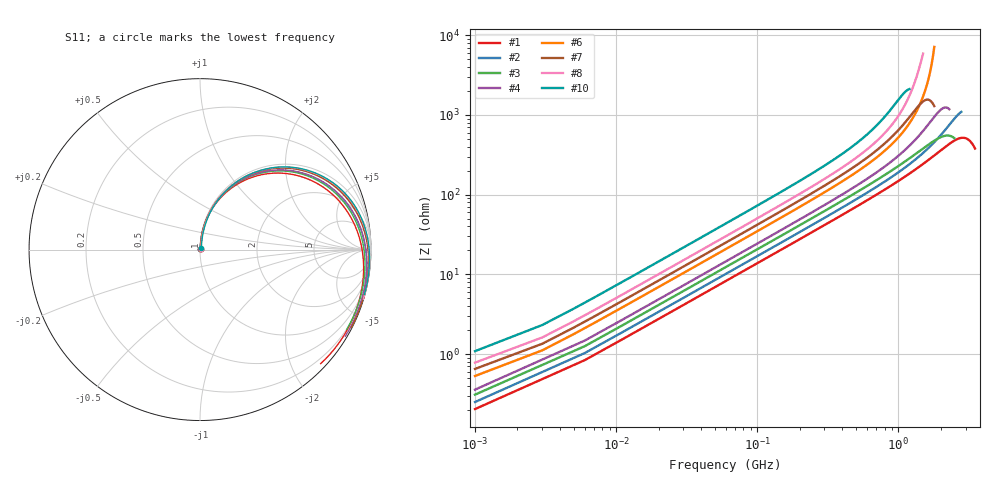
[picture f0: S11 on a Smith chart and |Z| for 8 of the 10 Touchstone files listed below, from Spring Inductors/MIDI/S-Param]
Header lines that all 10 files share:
! 10 June 2003
# MHZ S MA R 50
!Freq  MagS11  AngS11  MagS21  AngS21  MagS12  AngS12  MagS22  AngS22
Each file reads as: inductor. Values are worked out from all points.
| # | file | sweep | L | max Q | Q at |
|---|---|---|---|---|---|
| 1 | MIDI_22N.S2P | 1 MHz to 3.5 GHz | 21.9 nH | 678 | 961 MHz |
| 2 | MIDI_27N.S2P | 1 MHz to 2.8 GHz | 26.8 nH | 528 | 756 MHz |
| 3 | MIDI_33N.S2P | 1 MHz to 2.5 GHz | 32.7 nH | 436 | 636 MHz |
| 4 | MIDI_39N.S2P | 1 MHz to 2.3 GHz | 38.5 nH | 385 | 551 MHz |
| 5 | MIDI_47N.S2P | 1 MHz to 2 GHz | 46.2 nH | 525 | 756 MHz |
| 6 | MIDI_56N.S2P | 1 MHz to 1.8 GHz | 55 nH | 457 | 719 MHz |
| 7 | MIDI_68N.S2P | 1 MHz to 1.8 GHz | 66.3 nH | 401 | 639 MHz |
| 8 | MIDI_82N.S2P | 1 MHz to 1.5 GHz | 79.6 nH | 364 | 587 MHz |
| 9 | MIDI_R10.S2P | 1 MHz to 1.3 GHz | 96 nH | 289 | 469 MHz |
| 10 | MIDI_R12.S2P | 1 MHz to 1.2 GHz | 115 nH | 316 | 471 MHz |
